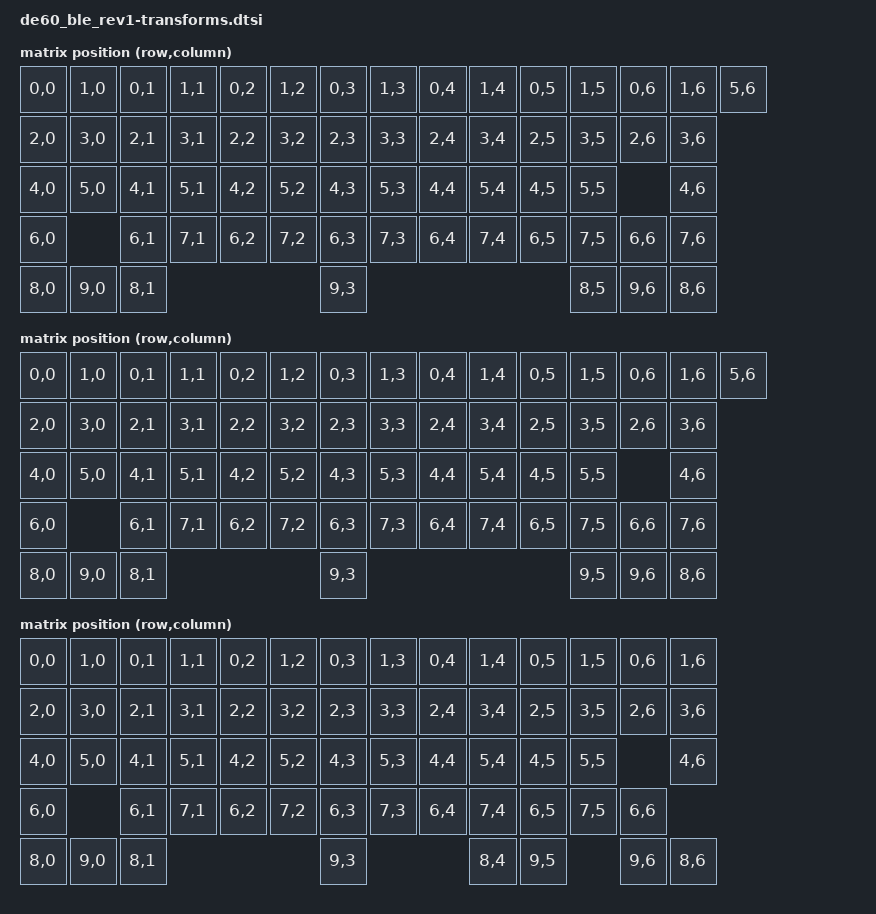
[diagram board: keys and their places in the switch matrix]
#include <dt-bindings/zmk/matrix_transform.h>

/ {

    red_ansi_tsangan_split_bs_rshift_transform: keymap_transform_red_tsangan {
        compatible = "zmk,matrix-transform";
        columns = <7>;
        rows = <10>;
        map = <
            RC(0,0) RC(1,0) RC(0,1) RC(1,1) RC(0,2) RC(1,2) RC(0,3) RC(1,3) RC(0,4) RC(1,4) RC(0,5) RC(1,5) RC(0,6) RC(1,6) RC(5,6) 
            RC(2,0) RC(3,0) RC(2,1) RC(3,1) RC(2,2) RC(3,2) RC(2,3) RC(3,3) RC(2,4) RC(3,4) RC(2,5) RC(3,5) RC(2,6) RC(3,6) 
            RC(4,0) RC(5,0) RC(4,1) RC(5,1) RC(4,2) RC(5,2) RC(4,3) RC(5,3) RC(4,4) RC(5,4) RC(4,5) RC(5,5)         RC(4,6) 
            RC(6,0)         RC(6,1) RC(7,1) RC(6,2) RC(7,2) RC(6,3) RC(7,3) RC(6,4) RC(7,4) RC(6,5) RC(7,5) RC(6,6) RC(7,6) 
            RC(8,0) RC(9,0) RC(8,1)                         RC(9,3)                                 RC(8,5) RC(9,6) RC(8,6) 
        >;
    };

    white_ansi_tsangan_split_bs_rshift_transform: keymap_transform_white_tsangan {
        compatible = "zmk,matrix-transform";
        columns = <7>;
        rows = <10>;
        map = <
            RC(0,0) RC(1,0) RC(0,1) RC(1,1) RC(0,2) RC(1,2) RC(0,3) RC(1,3) RC(0,4) RC(1,4) RC(0,5) RC(1,5) RC(0,6) RC(1,6) RC(5,6) 
            RC(2,0) RC(3,0) RC(2,1) RC(3,1) RC(2,2) RC(3,2) RC(2,3) RC(3,3) RC(2,4) RC(3,4) RC(2,5) RC(3,5) RC(2,6) RC(3,6) 
            RC(4,0) RC(5,0) RC(4,1) RC(5,1) RC(4,2) RC(5,2) RC(4,3) RC(5,3) RC(4,4) RC(5,4) RC(4,5) RC(5,5)         RC(4,6) 
            RC(6,0)         RC(6,1) RC(7,1) RC(6,2) RC(7,2) RC(6,3) RC(7,3) RC(6,4) RC(7,4) RC(6,5) RC(7,5) RC(6,6) RC(7,6) 
            RC(8,0) RC(9,0) RC(8,1)                         RC(9,3)                                 RC(9,5) RC(9,6) RC(8,6) 
        >;
    };

    white_ansi_transform: keymap_transform_white_ansi {
        compatible = "zmk,matrix-transform";
        columns = <7>;
        rows = <10>;
        map = <
            RC(0,0) RC(1,0) RC(0,1) RC(1,1) RC(0,2) RC(1,2) RC(0,3) RC(1,3) RC(0,4) RC(1,4) RC(0,5) RC(1,5) RC(0,6) RC(1,6) 
            RC(2,0) RC(3,0) RC(2,1) RC(3,1) RC(2,2) RC(3,2) RC(2,3) RC(3,3) RC(2,4) RC(3,4) RC(2,5) RC(3,5) RC(2,6) RC(3,6) 
            RC(4,0) RC(5,0) RC(4,1) RC(5,1) RC(4,2) RC(5,2) RC(4,3) RC(5,3) RC(4,4) RC(5,4) RC(4,5) RC(5,5)         RC(4,6) 
            RC(6,0)         RC(6,1) RC(7,1) RC(6,2) RC(7,2) RC(6,3) RC(7,3) RC(6,4) RC(7,4) RC(6,5) RC(7,5) RC(6,6) 
            RC(8,0) RC(9,0) RC(8,1)                         RC(9,3)                 RC(8,4) RC(9,5)         RC(9,6) RC(8,6) 
        >;
    };

    white_ansi_split_rshift_transform: keymap_transform_white_ansi_split_rshift {
        compatible = "zmk,matrix-transform";
        columns = <7>;
        rows = <10>;
        map = <
            RC(0,0) RC(1,0) RC(0,1) RC(1,1) RC(0,2) RC(1,2) RC(0,3) RC(1,3) RC(0,4) RC(1,4) RC(0,5) RC(1,5) RC(0,6) RC(1,6) 
            RC(2,0) RC(3,0) RC(2,1) RC(3,1) RC(2,2) RC(3,2) RC(2,3) RC(3,3) RC(2,4) RC(3,4) RC(2,5) RC(3,5) RC(2,6) RC(3,6) 
            RC(4,0) RC(5,0) RC(4,1) RC(5,1) RC(4,2) RC(5,2) RC(4,3) RC(5,3) RC(4,4) RC(5,4) RC(4,5) RC(5,5)         RC(4,6) 
            RC(6,0)         RC(6,1) RC(7,1) RC(6,2) RC(7,2) RC(6,3) RC(7,3) RC(6,4) RC(7,4) RC(6,5) RC(7,5) RC(6,6) RC(7,6) 
            RC(8,0) RC(9,0) RC(8,1)                         RC(9,3)                 RC(8,4) RC(9,5)         RC(9,6) RC(8,6) 
        >;
    };

    white_ansi_arrow_transform: keymap_transform_white_ansi_arrow {
        compatible = "zmk,matrix-transform";
        columns = <7>;
        rows = <10>;
        map = <
            RC(0,0) RC(1,0) RC(0,1) RC(1,1) RC(0,2) RC(1,2) RC(0,3) RC(1,3) RC(0,4) RC(1,4) RC(0,5) RC(1,5) RC(0,6) RC(1,6) 
            RC(2,0) RC(3,0) RC(2,1) RC(3,1) RC(2,2) RC(3,2) RC(2,3) RC(3,3) RC(2,4) RC(3,4) RC(2,5) RC(3,5) RC(2,6) RC(3,6) 
            RC(4,0) RC(5,0) RC(4,1) RC(5,1) RC(4,2) RC(5,2) RC(4,3) RC(5,3) RC(4,4) RC(5,4) RC(4,5) RC(5,5)         RC(4,6) 
            RC(6,0)         RC(6,1) RC(7,1) RC(6,2) RC(7,2) RC(6,3) RC(7,3) RC(6,4) RC(7,4) RC(6,5) RC(7,5) RC(6,6) RC(7,6) 
            RC(8,0) RC(9,0) RC(8,1)                         RC(9,3)                 RC(8,4) RC(9,5) RC(8,5) RC(9,6) RC(8,6) 
        >;
    };

    white_ansi_tsangan_arrow_transform: keymap_transform_white_ansi_tsangan_arrow {
        compatible = "zmk,matrix-transform";
        columns = <7>;
        rows = <10>;
        map = <
            RC(0,0) RC(1,0) RC(0,1) RC(1,1) RC(0,2) RC(1,2) RC(0,3) RC(1,3) RC(0,4) RC(1,4) RC(0,5) RC(1,5) RC(0,6) RC(1,6) 
            RC(2,0) RC(3,0) RC(2,1) RC(3,1) RC(2,2) RC(3,2) RC(2,3) RC(3,3) RC(2,4) RC(3,4) RC(2,5) RC(3,5) RC(2,6) RC(3,6) 
            RC(4,0) RC(5,0) RC(4,1) RC(5,1) RC(4,2) RC(5,2) RC(4,3) RC(5,3) RC(4,4) RC(5,4) RC(4,5) RC(5,5)         RC(4,6) 
            RC(6,0)         RC(6,1) RC(7,1) RC(6,2) RC(7,2) RC(6,3) RC(7,3) RC(6,4) RC(7,4) RC(6,5) RC(7,5) RC(6,6) RC(7,6) 
            RC(8,0) RC(9,0) RC(8,1)                         RC(9,3)                         RC(9,5) RC(8,5) RC(9,6) RC(8,6) 
        >;
    };

    white_ansi_tsangan_arrow_split_bs_transform: keymap_transform_white_ansi_tsangan_arrow_split_bs {
        compatible = "zmk,matrix-transform";
        columns = <7>;
        rows = <10>;
        map = <
            RC(0,0) RC(1,0) RC(0,1) RC(1,1) RC(0,2) RC(1,2) RC(0,3) RC(1,3) RC(0,4) RC(1,4) RC(0,5) RC(1,5) RC(0,6) RC(1,6) RC(5,6)
            RC(2,0) RC(3,0) RC(2,1) RC(3,1) RC(2,2) RC(3,2) RC(2,3) RC(3,3) RC(2,4) RC(3,4) RC(2,5) RC(3,5) RC(2,6) RC(3,6) 
            RC(4,0) RC(5,0) RC(4,1) RC(5,1) RC(4,2) RC(5,2) RC(4,3) RC(5,3) RC(4,4) RC(5,4) RC(4,5) RC(5,5)         RC(4,6) 
            RC(6,0)         RC(6,1) RC(7,1) RC(6,2) RC(7,2) RC(6,3) RC(7,3) RC(6,4) RC(7,4) RC(6,5) RC(7,5) RC(6,6) RC(7,6) 
            RC(8,0) RC(9,0) RC(8,1)                         RC(9,3)                         RC(9,5) RC(8,5) RC(9,6) RC(8,6) 
        >;
    };

    white_all_transform: keymap_transform_white_all {
        compatible = "zmk,matrix-transform";
        columns = <7>;
        rows = <10>;
        map = <
            RC(0,0) RC(1,0) RC(0,1) RC(1,1) RC(0,2) RC(1,2) RC(0,3) RC(1,3) RC(0,4) RC(1,4) RC(0,5) RC(1,5) RC(0,6) RC(1,6) RC(5,6) 
            RC(2,0) RC(3,0) RC(2,1) RC(3,1) RC(2,2) RC(3,2) RC(2,3) RC(3,3) RC(2,4) RC(3,4) RC(2,5) RC(3,5) RC(2,6) RC(3,6) 
            RC(4,0) RC(5,0) RC(4,1) RC(5,1) RC(4,2) RC(5,2) RC(4,3) RC(5,3) RC(4,4) RC(5,4) RC(4,5) RC(5,5)         RC(4,6) 
            RC(6,0) RC(7,0) RC(6,1) RC(7,1) RC(6,2) RC(7,2) RC(6,3) RC(7,3) RC(6,4) RC(7,4) RC(6,5) RC(7,5) RC(6,6) RC(7,6) 
            RC(8,0) RC(9,0) RC(8,1)                         RC(9,3)                 RC(8,4) RC(9,5) RC(8,5) RC(9,6) RC(8,6) 
        >;
    };

    both_ansi_10u_split_rshift_transform: keymap_transform_both_10u {
        compatible = "zmk,matrix-transform";
        columns = <7>;
        rows = <10>;
        map = <
            RC(0,0) RC(1,0) RC(0,1) RC(1,1) RC(0,2) RC(1,2) RC(0,3) RC(1,3) RC(0,4) RC(1,4) RC(0,5) RC(1,5) RC(0,6) RC(1,6) 
            RC(2,0) RC(3,0) RC(2,1) RC(3,1) RC(2,2) RC(3,2) RC(2,3) RC(3,3) RC(2,4) RC(3,4) RC(2,5) RC(3,5) RC(2,6) RC(3,6) 
            RC(4,0) RC(5,0) RC(4,1) RC(5,1) RC(4,2) RC(5,2) RC(4,3) RC(5,3) RC(4,4) RC(5,4) RC(4,5) RC(5,5)         RC(4,6) 
            RC(6,0)         RC(6,1) RC(7,1) RC(6,2) RC(7,2) RC(6,3) RC(7,3) RC(6,4) RC(7,4) RC(6,5) RC(7,5) RC(6,6) RC(7,6) 
            RC(8,0) RC(9,0)                                 RC(9,3)                                         RC(9,6) RC(8,6) 
        >;
    };

    both_ansi_10u_split_bs_rshift_transform: keymap_transform_both_10u_split_bs_rshift {
        compatible = "zmk,matrix-transform";
        columns = <7>;
        rows = <10>;
        map = <
            RC(0,0) RC(1,0) RC(0,1) RC(1,1) RC(0,2) RC(1,2) RC(0,3) RC(1,3) RC(0,4) RC(1,4) RC(0,5) RC(1,5) RC(0,6) RC(1,6) RC(5,6) 
            RC(2,0) RC(3,0) RC(2,1) RC(3,1) RC(2,2) RC(3,2) RC(2,3) RC(3,3) RC(2,4) RC(3,4) RC(2,5) RC(3,5) RC(2,6) RC(3,6) 
            RC(4,0) RC(5,0) RC(4,1) RC(5,1) RC(4,2) RC(5,2) RC(4,3) RC(5,3) RC(4,4) RC(5,4) RC(4,5) RC(5,5)         RC(4,6) 
            RC(6,0)         RC(6,1) RC(7,1) RC(6,2) RC(7,2) RC(6,3) RC(7,3) RC(6,4) RC(7,4) RC(6,5) RC(7,5) RC(6,6) RC(7,6) 
            RC(8,0) RC(9,0)                                 RC(9,3)                                         RC(9,6) RC(8,6) 
        >;
    };

};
